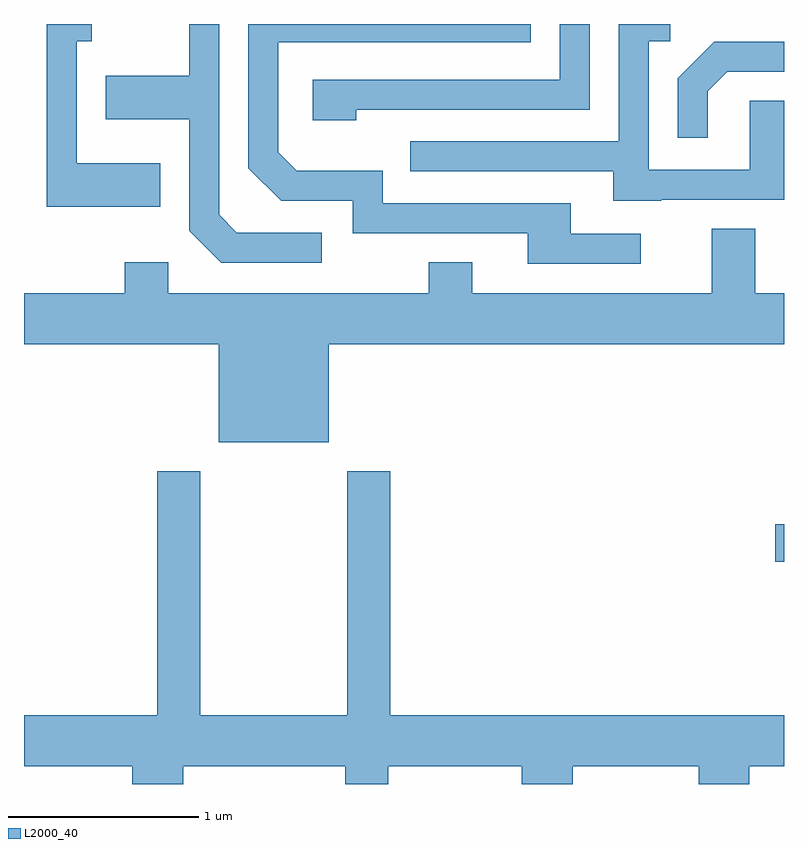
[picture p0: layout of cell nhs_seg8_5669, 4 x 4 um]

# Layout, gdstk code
import gdstk
lib = gdstk.Library(unit=1e-6, precision=1e-09)
def R(c, l, rs):  # rectangles x0, y0, x1, y1
    for r in rs: c.add(gdstk.rectangle(r[:2], r[2:], *l))
def P(c, l, *ps):  # polygons
    for p in ps: c.add(gdstk.Polygon(p, *l))
L2000_40 = (2000, 40)

nhs_seg8_5669 = lib.new_cell('nhs_seg8_5669')
R(nhs_seg8_5669, L2000_40, [(359.566,1817.511,359.611,1817.709)])
P(nhs_seg8_5669, L2000_40, [(357.178,1819.244),(356.732,1819.244),(356.639,1819.337),(356.639,1820.342),(356.481,1820.342),(356.481,1820.069),(356.041,1820.069),(356.041,1819.841),(356.481,1819.841),(356.481,1819.254),(356.649,1819.086),(357.178,1819.086)],
  [(358.965,1819.416),(359.611,1819.416),(359.611,1819.939),(359.431,1819.939),(359.431,1819.574),(358.899,1819.574),(358.899,1820.251),(359.013,1820.251),(359.013,1820.342),(358.741,1820.342),(358.741,1819.724),(357.643,1819.724),(357.643,1819.566),(358.711,1819.566),(358.711,1819.411),(358.965,1819.411)],
  [(356.329,1819.609),(355.889,1819.609),(355.889,1820.251),(355.968,1820.251),(355.968,1820.342),(355.731,1820.342),(355.731,1819.381),(356.329,1819.381)],
  [(358.858,1819.239),(358.489,1819.239),(358.489,1819.399),(357.499,1819.399),(357.499,1819.569),(357.047,1819.569),(356.949,1819.667),(356.949,1820.246),(358.279,1820.246),(358.279,1820.342),(356.791,1820.342),(356.791,1819.584),(356.964,1819.411),(357.341,1819.411),(357.341,1819.241),(358.261,1819.241),(358.261,1819.081),(358.858,1819.081)],
  [(357.359,1819.891),(358.589,1819.891),(358.589,1820.342),(358.431,1820.342),(358.431,1820.049),(357.131,1820.049),(357.131,1819.836),(357.359,1819.836)],
  [(359.209,1819.989),(359.312,1820.091),(359.611,1820.091),(359.611,1820.249),(359.244,1820.249),(359.051,1820.057),(359.051,1819.743),(359.209,1819.743)],
  [(357.214,1818.656),(359.611,1818.656),(359.611,1818.924),(359.459,1818.924),(359.459,1819.264),(359.231,1819.264),(359.231,1818.924),(357.969,1818.924),(357.969,1819.089),(357.741,1819.089),(357.741,1818.924),(356.369,1818.924),(356.369,1819.089),(356.141,1819.089),(356.141,1818.924),(355.611,1818.924),(355.611,1818.656),(356.636,1818.656),(356.636,1818.141),(357.214,1818.141)],
  [(356.449,1816.436),(357.301,1816.436),(357.301,1816.342),(357.529,1816.342),(357.529,1816.436),(358.231,1816.436),(358.231,1816.342),(358.499,1816.342),(358.499,1816.436),(359.161,1816.436),(359.161,1816.342),(359.429,1816.342),(359.429,1816.436),(359.611,1816.436),(359.611,1816.704),(357.539,1816.704),(357.539,1817.989),(357.311,1817.989),(357.311,1816.704),(356.539,1816.704),(356.539,1817.989),(356.311,1817.989),(356.311,1816.704),(355.611,1816.704),(355.611,1816.436),(356.181,1816.436),(356.181,1816.342),(356.449,1816.342)])

lib.write_gds('nhs_seg8_5669.gds')
